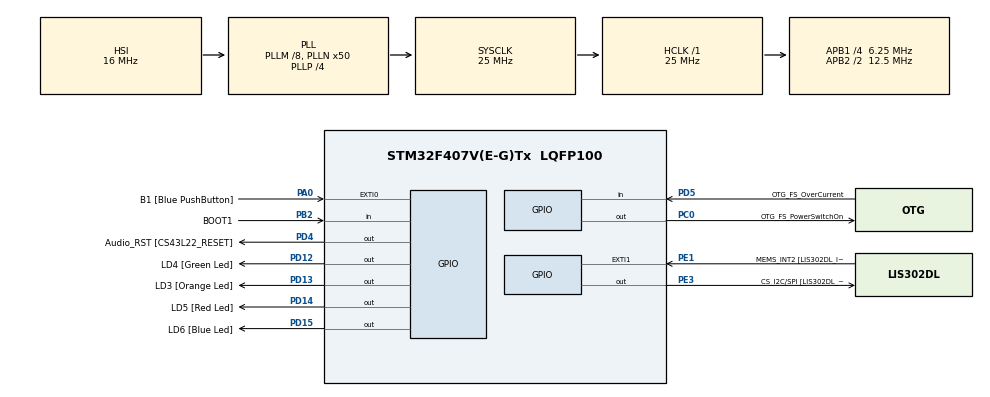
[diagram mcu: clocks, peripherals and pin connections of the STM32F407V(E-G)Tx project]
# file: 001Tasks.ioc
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Mcu.Family=STM32F4
Mcu.Name=STM32F407V(E-G)Tx
Mcu.Package=LQFP100
NVIC.PriorityGroup=NVIC_PRIORITYGROUP_4
NVIC.TIM6_DAC_IRQn=true\:0\:0\:false\:false\:true\:false\:true\:true
NVIC.TimeBase=TIM6_DAC_IRQn
NVIC.TimeBaseIP=TIM6
PA0-WKUP.GPIO_Label=B1 [Blue PushButton]
PA0-WKUP.Signal=GPXTI0
PA10.GPIO_Label=OTG_FS_ID
PA10.GPIO_Mode=GPIO_MODE_AF_PP
PA10.GPIO_PuPd=GPIO_NOPULL
PA10.GPIO_Speed=GPIO_SPEED_FREQ_LOW
PA10.Signal=USB_OTG_FS_ID
PA11.GPIO_Label=OTG_FS_DM
PA11.GPIO_Mode=GPIO_MODE_AF_PP
PA11.GPIO_PuPd=GPIO_NOPULL
PA11.GPIO_Speed=GPIO_SPEED_FREQ_LOW
PA11.Signal=USB_OTG_FS_DM
PA12.GPIO_Label=OTG_FS_DP
PA12.GPIO_Mode=GPIO_MODE_AF_PP
PA12.GPIO_PuPd=GPIO_NOPULL
PA12.GPIO_Speed=GPIO_SPEED_FREQ_LOW
PA12.Signal=USB_OTG_FS_DP
PA13.GPIO_Label=SWDIO
PA13.Signal=SYS_JTMS-SWDIO
PA14.GPIO_Label=SWCLK
PA14.Signal=SYS_JTCK-SWCLK
PA4.GPIO_Label=I2S3_WS [CS43L22_LRCK]
PA4.GPIO_Mode=GPIO_MODE_AF_PP
PA4.GPIO_PuPd=GPIO_NOPULL
PA4.GPIO_Speed=GPIO_SPEED_FREQ_LOW
PA4.Signal=I2S3_WS
PA5.GPIO_Label=SPI1_SCK [LIS302DL_SCL/SPC]
PA5.GPIO_Mode=GPIO_MODE_AF_PP
PA5.GPIO_PuPd=GPIO_NOPULL
PA5.GPIO_Speed=GPIO_SPEED_FREQ_LOW
PA5.Signal=SPI1_SCK
PA6.GPIO_Label=SPI1_MISO [LIS302DL_SDO]
PA6.GPIO_Mode=GPIO_MODE_AF_PP
PA6.GPIO_PuPd=GPIO_NOPULL
PA6.GPIO_Speed=GPIO_SPEED_FREQ_LOW
PA6.Signal=SPI1_MISO
PA7.GPIO_Label=SPI1_MOSI [LIS302DL_SDA/SDI/SDO]
PA7.GPIO_Mode=GPIO_MODE_AF_PP
PA7.GPIO_PuPd=GPIO_NOPULL
PA7.GPIO_Speed=GPIO_SPEED_FREQ_LOW
PA7.Signal=SPI1_MOSI
PA9.GPIO_Label=VBUS_FS
PA9.GPIO_Mode=GPIO_MODE_INPUT
PA9.GPIO_PuPd=GPIO_NOPULL
PA9.Signal=USB_OTG_FS_VBUS
PB10.GPIO_Label=CLK_IN [MP45DT02_CLK]
PB10.GPIO_Mode=GPIO_MODE_AF_PP
PB10.GPIO_PuPd=GPIO_NOPULL
PB10.GPIO_Speed=GPIO_SPEED_FREQ_LOW
PB10.Signal=I2S2_CK
PB2.GPIO_Label=BOOT1
PB2.GPIO_Mode=GPIO_MODE_INPUT
PB2.GPIO_PuPd=GPIO_NOPULL
PB2.Signal=GPIO_Input
PB3.GPIO_Label=SWO
PB3.Signal=SYS_JTDO-SWO
PB6.GPIO_Label=Audio_SCL [CS43L22_SCL]
PB6.GPIO_Mode=GPIO_MODE_AF_OD
PB6.GPIO_PuPd=GPIO_NOPULL
PB6.GPIO_Speed=GPIO_SPEED_FREQ_LOW
PB6.Signal=I2C1_SCL
PB9.GPIO_Label=Audio_SDA [CS43L22_SDA]
PB9.GPIO_Mode=GPIO_MODE_AF_OD
PB9.GPIO_PuPd=GPIO_NOPULL
PB9.GPIO_Speed=GPIO_SPEED_FREQ_LOW
PB9.Signal=I2C1_SDA
PC0.GPIO_Label=OTG_FS_PowerSwitchOn
PC0.GPIO_PuPd=GPIO_NOPULL
PC0.GPIO_Speed=GPIO_SPEED_FREQ_LOW
PC0.PinState=GPIO_PIN_SET
PC0.Signal=GPIO_Output
PC10.GPIO_Label=I2S3_SCK [CS43L22_SCLK]
PC10.GPIO_Mode=GPIO_MODE_AF_PP
PC10.GPIO_PuPd=GPIO_NOPULL
PC10.GPIO_Speed=GPIO_SPEED_FREQ_LOW
PC10.Signal=I2S3_CK
PC12.GPIO_Label=I2S3_SD [CS43L22_SDIN]
PC12.GPIO_Mode=GPIO_MODE_AF_PP
PC12.GPIO_PuPd=GPIO_NOPULL
PC12.GPIO_Speed=GPIO_SPEED_FREQ_LOW
PC12.Signal=I2S3_SD
PC14-OSC32_IN.GPIO_Label=PC14-OSC32_IN
PC14-OSC32_IN.Signal=RCC_OSC32_IN
PC15-OSC32_OUT.GPIO_Label=PC15-OSC32_OUT
PC15-OSC32_OUT.Signal=RCC_OSC32_OUT
PC3.GPIO_Label=PDM_OUT [MP45DT02_DOUT]
PC3.GPIO_Mode=GPIO_MODE_AF_PP
PC3.GPIO_PuPd=GPIO_NOPULL
PC3.GPIO_Speed=GPIO_SPEED_FREQ_LOW
PC3.Signal=I2S2_SD
PC7.GPIO_Label=I2S3_MCK [CS43L22_MCLK]
PC7.GPIO_Mode=GPIO_MODE_AF_PP
PC7.GPIO_PuPd=GPIO_NOPULL
PC7.GPIO_Speed=GPIO_SPEED_FREQ_LOW
PC7.Signal=I2S3_MCK
PD12.GPIO_Label=LD4 [Green Led]
PD12.GPIO_PuPd=GPIO_NOPULL
PD12.GPIO_Speed=GPIO_SPEED_FREQ_LOW
PD12.Signal=GPIO_Output
PD13.GPIO_Label=LD3 [Orange Led]
PD13.GPIO_PuPd=GPIO_NOPULL
PD13.GPIO_Speed=GPIO_SPEED_FREQ_LOW
PD13.Signal=GPIO_Output
PD14.GPIO_Label=LD5 [Red Led]
PD14.GPIO_PuPd=GPIO_NOPULL
PD14.GPIO_Speed=GPIO_SPEED_FREQ_LOW
PD14.Signal=GPIO_Output
PD15.GPIO_Label=LD6 [Blue Led]
PD15.GPIO_PuPd=GPIO_NOPULL
PD15.GPIO_Speed=GPIO_SPEED_FREQ_LOW
PD15.Signal=GPIO_Output
PD4.GPIO_Label=Audio_RST [CS43L22_RESET]
PD4.GPIO_PuPd=GPIO_NOPULL
PD4.GPIO_Speed=GPIO_SPEED_FREQ_LOW
PD4.Signal=GPIO_Output
PD5.GPIO_Label=OTG_FS_OverCurrent
PD5.GPIO_Mode=GPIO_MODE_INPUT
PD5.GPIO_PuPd=GPIO_NOPULL
PD5.Signal=GPIO_Input
PE1.GPIO_Label=MEMS_INT2 [LIS302DL_INT2]
PE1.GPIO_ModeDefaultEXTI=GPIO_MODE_EVT_RISING
PE1.GPIO_PuPd=GPIO_NOPULL
PE1.Signal=GPXTI1
PE3.GPIO_Label=CS_I2C/SPI [LIS302DL_CS_I2C/SPI]
PE3.GPIO_PuPd=GPIO_NOPULL
PE3.GPIO_Speed=GPIO_SPEED_FREQ_LOW
PE3.Signal=GPIO_Output
PH0-OSC_IN.GPIO_Label=PH0-OSC_IN
PH0-OSC_IN.Signal=RCC_OSC_IN
PH1-OSC_OUT.GPIO_Label=PH1-OSC_OUT
PH1-OSC_OUT.Signal=RCC_OSC_OUT
ProjectManager.HeapSize=0x200
ProjectManager.StackSize=0x400
ProjectManager.TargetToolchain=STM32CubeIDE
RCC.48MHZClocksFreq_Value=14285714.285714285
RCC.AHBFreq_Value=25000000
RCC.APB1CLKDivider=RCC_HCLK_DIV4
RCC.APB1Freq_Value=6250000
RCC.APB1TimFreq_Value=12500000
RCC.APB2CLKDivider=RCC_HCLK_DIV2
RCC.APB2Freq_Value=12500000
RCC.APB2TimFreq_Value=25000000
RCC.CortexFreq_Value=25000000
RCC.HCLKFreq_Value=25000000
RCC.HSE_VALUE=8000000
RCC.HSI_VALUE=16000000
RCC.LSE_VALUE=32768
RCC.PLLM=8
RCC.PLLN=50
RCC.PLLP=RCC_PLLP_DIV4
RCC.PLLQ=7
RCC.SYSCLKFreq_VALUE=25000000
RCC.SYSCLKSource=RCC_SYSCLKSOURCE_PLLCLK
RCC.VCOOutputFreq_Value=100000000
VP_SYS_VS_tim6.Mode=TIM6
board=STM32F407G-DISC1

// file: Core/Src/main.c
/* USER CODE BEGIN Header */
/**
  ******************************************************************************
  * @file           : main.c
  * @brief          : Main program body
  ******************************************************************************
  * @attention
  *
  * Copyright (c) 2024 STMicroelectronics.
  * All rights reserved.
  *
  * This software is licensed under terms that can be found in the LICENSE file
  * in the root directory of this software component.
  * If no LICENSE file comes with this software, it is provided AS-IS.
  *
  ******************************************************************************
  */
/* USER CODE END Header */
#include "main.h"
#include <stdio.h>

/* USER CODE BEGIN Includes */
#include "FreeRTOS.h"
#include "task.h"

/* USER CODE END Includes */

/* USER CODE BEGIN PV */
#define DWT_CTRL ( *(volatile uint32_t*)0XE0001000 )

/* USER CODE END PV */

void SystemClock_Config(void);
static void MX_GPIO_Init(void);
/* USER CODE BEGIN PFP */

static void task1_handler(void* parameter);
static void task2_handler(void* parameter);

/* USER CODE END PFP */

int main(void)
{
  /* USER CODE BEGIN 1 */
	TaskHandle_t task1_handle;
	TaskHandle_t task2_handle;
	BaseType_t status;

  /* USER CODE END 1 */

  /* MCU Configuration--------------------------------------------------------*/

  /* Reset of all peripherals, Initializes the Flash interface and the Systick. */
  HAL_Init();

  /* Configure the system clock */
  SystemClock_Config();

  /* Initialize all configured peripherals */
  MX_GPIO_Init();
  /* USER CODE BEGIN 2 */
  DWT_CTRL |= (1<<0);

  SEGGER_SYSVIEW_Conf();

  SEGGER_SYSVIEW_Start();
  status = xTaskCreate(task1_handler, "Task-1", 200, "Hello World from Task-1", 2, &task1_handle);
  configASSERT(status == pdPASS);

  status = xTaskCreate(task2_handler, "Task-2", 200, "Hello World from Task-2", 2, &task2_handle);
  configASSERT(status == pdPASS);

  //start the scheduler
  vTaskStartScheduler();
  /* USER CODE END 2 */

  /* Infinite loop */
  while (1)
  {

  }
}

void SystemClock_Config(void)
{
  RCC_OscInitTypeDef RCC_OscInitStruct = {0};
  RCC_ClkInitTypeDef RCC_ClkInitStruct = {0};

  /** Configure the main internal regulator output voltage
  */
  __HAL_RCC_PWR_CLK_ENABLE();
  __HAL_PWR_VOLTAGESCALING_CONFIG(PWR_REGULATOR_VOLTAGE_SCALE1);

  /** Initializes the RCC Oscillators according to the specified parameters
  * in the RCC_OscInitTypeDef structure.
  */
  RCC_OscInitStruct.OscillatorType = RCC_OSCILLATORTYPE_HSI;
  RCC_OscInitStruct.HSIState = RCC_HSI_ON;
  RCC_OscInitStruct.HSICalibrationValue = RCC_HSICALIBRATION_DEFAULT;
  RCC_OscInitStruct.PLL.PLLState = RCC_PLL_ON;
  RCC_OscInitStruct.PLL.PLLSource = RCC_PLLSOURCE_HSI;
  RCC_OscInitStruct.PLL.PLLM = 8;
  RCC_OscInitStruct.PLL.PLLN = 50;
  RCC_OscInitStruct.PLL.PLLP = RCC_PLLP_DIV4;
  RCC_OscInitStruct.PLL.PLLQ = 7;
  if (HAL_RCC_OscConfig(&RCC_OscInitStruct) != HAL_OK)
  {
    Error_Handler();
  }

  /** Initializes the CPU, AHB and APB buses clocks
  */
  RCC_ClkInitStruct.ClockType = RCC_CLOCKTYPE_HCLK|RCC_CLOCKTYPE_SYSCLK
                              |RCC_CLOCKTYPE_PCLK1|RCC_CLOCKTYPE_PCLK2;
  RCC_ClkInitStruct.SYSCLKSource = RCC_SYSCLKSOURCE_PLLCLK;
  RCC_ClkInitStruct.AHBCLKDivider = RCC_SYSCLK_DIV1;
  RCC_ClkInitStruct.APB1CLKDivider = RCC_HCLK_DIV4;
  RCC_ClkInitStruct.APB2CLKDivider = RCC_HCLK_DIV2;

  if (HAL_RCC_ClockConfig(&RCC_ClkInitStruct, FLASH_LATENCY_0) != HAL_OK)
  {
    Error_Handler();
  }
}

static void MX_GPIO_Init(void)
{
  GPIO_InitTypeDef GPIO_InitStruct = {0};

  /* GPIO Ports Clock Enable */
  __HAL_RCC_GPIOE_CLK_ENABLE();
  __HAL_RCC_GPIOC_CLK_ENABLE();
  __HAL_RCC_GPIOH_CLK_ENABLE();
  __HAL_RCC_GPIOA_CLK_ENABLE();
  __HAL_RCC_GPIOB_CLK_ENABLE();
  __HAL_RCC_GPIOD_CLK_ENABLE();

  /*Configure GPIO pin Output Level */
  HAL_GPIO_WritePin(CS_I2C_SPI_GPIO_Port, CS_I2C_SPI_Pin, GPIO_PIN_RESET);

  /*Configure GPIO pin Output Level */
  HAL_GPIO_WritePin(OTG_FS_PowerSwitchOn_GPIO_Port, OTG_FS_PowerSwitchOn_Pin, GPIO_PIN_SET);

  /*Configure GPIO pin Output Level */
  HAL_GPIO_WritePin(GPIOD, LD4_Pin|LD3_Pin|LD5_Pin|LD6_Pin
                          |Audio_RST_Pin, GPIO_PIN_RESET);

  /*Configure GPIO pin : CS_I2C_SPI_Pin */
  GPIO_InitStruct.Pin = CS_I2C_SPI_Pin;
  GPIO_InitStruct.Mode = GPIO_MODE_OUTPUT_PP;
  GPIO_InitStruct.Pull = GPIO_NOPULL;
  GPIO_InitStruct.Speed = GPIO_SPEED_FREQ_LOW;
  HAL_GPIO_Init(CS_I2C_SPI_GPIO_Port, &GPIO_InitStruct);

  /*Configure GPIO pin : OTG_FS_PowerSwitchOn_Pin */
  GPIO_InitStruct.Pin = OTG_FS_PowerSwitchOn_Pin;
  GPIO_InitStruct.Mode = GPIO_MODE_OUTPUT_PP;
  GPIO_InitStruct.Pull = GPIO_NOPULL;
  GPIO_InitStruct.Speed = GPIO_SPEED_FREQ_LOW;
  HAL_GPIO_Init(OTG_FS_PowerSwitchOn_GPIO_Port, &GPIO_InitStruct);

  /*Configure GPIO pin : PDM_OUT_Pin */
  GPIO_InitStruct.Pin = PDM_OUT_Pin;
  GPIO_InitStruct.Mode = GPIO_MODE_AF_PP;
  GPIO_InitStruct.Pull = GPIO_NOPULL;
  GPIO_InitStruct.Speed = GPIO_SPEED_FREQ_LOW;
  GPIO_InitStruct.Alternate = GPIO_AF5_SPI2;
  HAL_GPIO_Init(PDM_OUT_GPIO_Port, &GPIO_InitStruct);

  /*Configure GPIO pin : B1_Pin */
  GPIO_InitStruct.Pin = B1_Pin;
  GPIO_InitStruct.Mode = GPIO_MODE_IT_RISING;
  GPIO_InitStruct.Pull = GPIO_NOPULL;
  HAL_GPIO_Init(B1_GPIO_Port, &GPIO_InitStruct);

  /*Configure GPIO pin : I2S3_WS_Pin */
  GPIO_InitStruct.Pin = I2S3_WS_Pin;
  GPIO_InitStruct.Mode = GPIO_MODE_AF_PP;
  GPIO_InitStruct.Pull = GPIO_NOPULL;
  GPIO_InitStruct.Speed = GPIO_SPEED_FREQ_LOW;
  GPIO_InitStruct.Alternate = GPIO_AF6_SPI3;
  HAL_GPIO_Init(I2S3_WS_GPIO_Port, &GPIO_InitStruct);

  /*Configure GPIO pins : SPI1_SCK_Pin SPI1_MISO_Pin SPI1_MOSI_Pin */
  GPIO_InitStruct.Pin = SPI1_SCK_Pin|SPI1_MISO_Pin|SPI1_MOSI_Pin;
  GPIO_InitStruct.Mode = GPIO_MODE_AF_PP;
  GPIO_InitStruct.Pull = GPIO_NOPULL;
  GPIO_InitStruct.Speed = GPIO_SPEED_FREQ_LOW;
  GPIO_InitStruct.Alternate = GPIO_AF5_SPI1;
  HAL_GPIO_Init(GPIOA, &GPIO_InitStruct);

  /*Configure GPIO pin : BOOT1_Pin */
  GPIO_InitStruct.Pin = BOOT1_Pin;
  GPIO_InitStruct.Mode = GPIO_MODE_INPUT;
  GPIO_InitStruct.Pull = GPIO_NOPULL;
  HAL_GPIO_Init(BOOT1_GPIO_Port, &GPIO_InitStruct);

  /*Configure GPIO pin : CLK_IN_Pin */
  GPIO_InitStruct.Pin = CLK_IN_Pin;
  GPIO_InitStruct.Mode = GPIO_MODE_AF_PP;
  GPIO_InitStruct.Pull = GPIO_NOPULL;
  GPIO_InitStruct.Speed = GPIO_SPEED_FREQ_LOW;
  GPIO_InitStruct.Alternate = GPIO_AF5_SPI2;
  HAL_GPIO_Init(CLK_IN_GPIO_Port, &GPIO_InitStruct);

  /*Configure GPIO pins : LD4_Pin LD3_Pin LD5_Pin LD6_Pin
                           Audio_RST_Pin */
  GPIO_InitStruct.Pin = LD4_Pin|LD3_Pin|LD5_Pin|LD6_Pin
                          |Audio_RST_Pin;
  GPIO_InitStruct.Mode = GPIO_MODE_OUTPUT_PP;
  GPIO_InitStruct.Pull = GPIO_NOPULL;
  GPIO_InitStruct.Speed = GPIO_SPEED_FREQ_LOW;
  HAL_GPIO_Init(GPIOD, &GPIO_InitStruct);

  /*Configure GPIO pins : I2S3_MCK_Pin I2S3_SCK_Pin I2S3_SD_Pin */
  GPIO_InitStruct.Pin = I2S3_MCK_Pin|I2S3_SCK_Pin|I2S3_SD_Pin;
  GPIO_InitStruct.Mode = GPIO_MODE_AF_PP;
  GPIO_InitStruct.Pull = GPIO_NOPULL;
  GPIO_InitStruct.Speed = GPIO_SPEED_FREQ_LOW;
  GPIO_InitStruct.Alternate = GPIO_AF6_SPI3;
  HAL_GPIO_Init(GPIOC, &GPIO_InitStruct);

  /*Configure GPIO pin : VBUS_FS_Pin */
  GPIO_InitStruct.Pin = VBUS_FS_Pin;
  GPIO_InitStruct.Mode = GPIO_MODE_INPUT;
  GPIO_InitStruct.Pull = GPIO_NOPULL;
  HAL_GPIO_Init(VBUS_FS_GPIO_Port, &GPIO_InitStruct);

  /*Configure GPIO pins : OTG_FS_ID_Pin OTG_FS_DM_Pin OTG_FS_DP_Pin */
  GPIO_InitStruct.Pin = OTG_FS_ID_Pin|OTG_FS_DM_Pin|OTG_FS_DP_Pin;
  GPIO_InitStruct.Mode = GPIO_MODE_AF_PP;
  GPIO_InitStruct.Pull = GPIO_NOPULL;
  GPIO_InitStruct.Speed = GPIO_SPEED_FREQ_LOW;
  GPIO_InitStruct.Alternate = GPIO_AF10_OTG_FS;
  HAL_GPIO_Init(GPIOA, &GPIO_InitStruct);

  /*Configure GPIO pin : OTG_FS_OverCurrent_Pin */
  GPIO_InitStruct.Pin = OTG_FS_OverCurrent_Pin;
  GPIO_InitStruct.Mode = GPIO_MODE_INPUT;
  GPIO_InitStruct.Pull = GPIO_NOPULL;
  HAL_GPIO_Init(OTG_FS_OverCurrent_GPIO_Port, &GPIO_InitStruct);

  /*Configure GPIO pins : Audio_SCL_Pin Audio_SDA_Pin */
  GPIO_InitStruct.Pin = Audio_SCL_Pin|Audio_SDA_Pin;
  GPIO_InitStruct.Mode = GPIO_MODE_AF_OD;
  GPIO_InitStruct.Pull = GPIO_NOPULL;
  GPIO_InitStruct.Speed = GPIO_SPEED_FREQ_LOW;
  GPIO_InitStruct.Alternate = GPIO_AF4_I2C1;
  HAL_GPIO_Init(GPIOB, &GPIO_InitStruct);

  /*Configure GPIO pin : MEMS_INT2_Pin */
  GPIO_InitStruct.Pin = MEMS_INT2_Pin;
  GPIO_InitStruct.Mode = GPIO_MODE_EVT_RISING;
  GPIO_InitStruct.Pull = GPIO_NOPULL;
  HAL_GPIO_Init(MEMS_INT2_GPIO_Port, &GPIO_InitStruct);

}

/* USER CODE BEGIN 4 */
static void task1_handler(void* parameter)
{
	while(1)
	{
		printf("%s\n" , (char*) parameter);
		//taskYIELD();
	}

}

static void task2_handler(void* parameter)
{
	while(1)
	{
		printf("%s\n" , (char*) parameter);
		//taskYIELD();
	}

}
/* USER CODE END 4 */

void HAL_TIM_PeriodElapsedCallback(TIM_HandleTypeDef *htim)
{
  if (htim->Instance == TIM6) {
    HAL_IncTick();
  }
}

void Error_Handler(void)
{
  __disable_irq();
  while (1)
  {
  }
}
